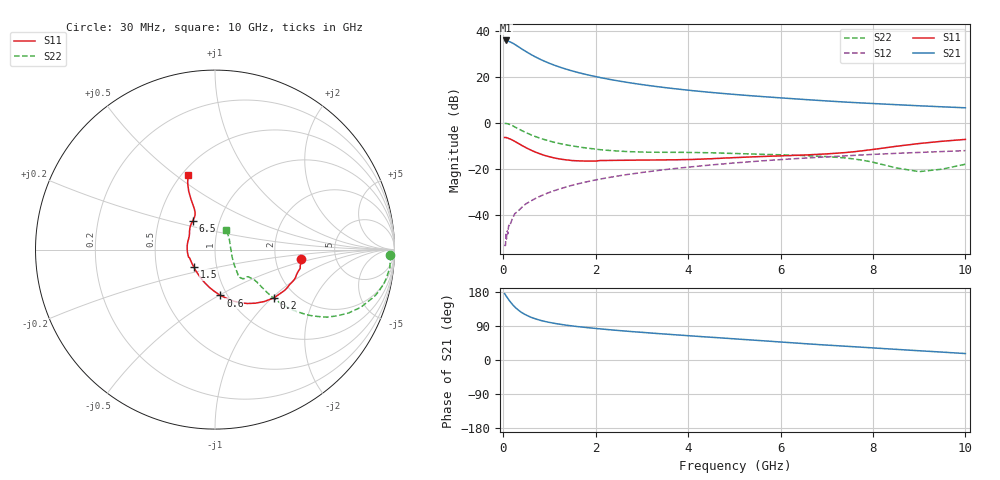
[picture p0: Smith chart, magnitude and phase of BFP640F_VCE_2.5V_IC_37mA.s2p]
! Infineon Technologies  Discrete & RF Semiconductors
! BFP640F
! VCE =  2.5 V,  IC =  37 mA
! Common Emitter S-Parameters:  Apr 2013
# GHz  S  MA  R  50
!  f  S11  S21  S12  S22
! GHz  MAG  ANG  MAG  ANG  MAG  ANG  MAG  ANG
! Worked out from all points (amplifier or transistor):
!   99 points, 30 MHz to 10 GHz, reference 50 ohm
!   highest |S21| = 35.9 dB at 50 MHz (marker M1)
!   |S21| within 3 dB of that: start of sweep to 348.4 MHz
!   unconditionally stable (mu >= 1): 1.654 GHz to end of sweep
!   at 350 MHz: K = 0.54, MSG = 35.3 dB, |S12| = -37.7 dB
!   at 3.5 GHz: K = 1.06, MAG = 16.4 dB, |S12| = -20.3 dB
!   at 10 GHz: K = 1.04, MAG = 8.1 dB, |S12| = -12.0 dB
!   S11 on the Smith chart (normalised r, x): 30 MHz: 2.81, -0.38; 200 MHz: 1.57, -1.03; 600 MHz: 0.93, -0.51; 1.5 GHz: 0.78, -0.15; 6.5 GHz: 0.74, +0.24; 10 GHz: 0.54, +0.55
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0.03  0.4836 -6.2  61.72 175.1  0.0021 109.8  0.9741 -1.7
0.05  0.4831 -10.4  62.37 171.6  0.0022 110.4  0.9783 -4.7
0.08  0.4752 -17.0  61.73 165.9  0.0041 79.4  0.9697 -8.8
0.12  0.459 -25.1  59.7 158.9  0.006 79.8  0.9455 -13.6
0.2  0.425 -39.1  54.73 146.6  0.0084 79.5  0.8734 -21.6
0.25  0.3989 -46.5  51.16 140.1  0.0107 77.7  0.8235 -25.4
0.3  0.3735 -53.1  47.59 134.5  0.0117 76.7  0.7738 -28.5
0.4  0.3268 -64.7  40.93 125.3  0.0146 74.5  0.6845 -33.0
0.5  0.2882 -74.3  35.37 118.4  0.0177 74.3  0.6133 -35.8
0.6  0.2572 -83.3  30.89 112.8  0.0202 73.7  0.5547 -37.7
0.7  0.2323 -91.0  27.25 108.5  0.023 73.9  0.5063 -38.7
0.9  0.1967 -105.4  21.89 101.8  0.0283 73.7  0.4335 -39.6
1.2  0.1668 -124.0  16.73 94.9  0.0363 73.2  0.3621 -39.3
1.5  0.1524 -140.4  13.5 89.8  0.0445 72.3  0.3171 -38.2
1.7  0.1496 -149.7  11.96 87.0  0.0497 71.5  0.2949 -37.7
2.4  0.1542 -173.3  8.534 78.8  0.0683 68.4  0.2487 -38.7
3.4  0.1577 163.9  6.062 69.3  0.0943 63.4  0.2306 -42.3
5.1  0.1783 142.3  4.108 55.0  0.1377 54.3  0.2163 -47.4
6.5  0.2014 128.4  3.256 43.3  0.1719 46.0  0.1956 -48.3
6.7  0.2057 126.1  3.158 41.7  0.1764 44.9  0.1918 -48.1
8.5  0.3113 115.5  2.506 28.1  0.2189 34.3  0.1058 -24.8
10  0.4403 110.0  2.142 17.0  0.2508 25.5  0.1271 59.8
